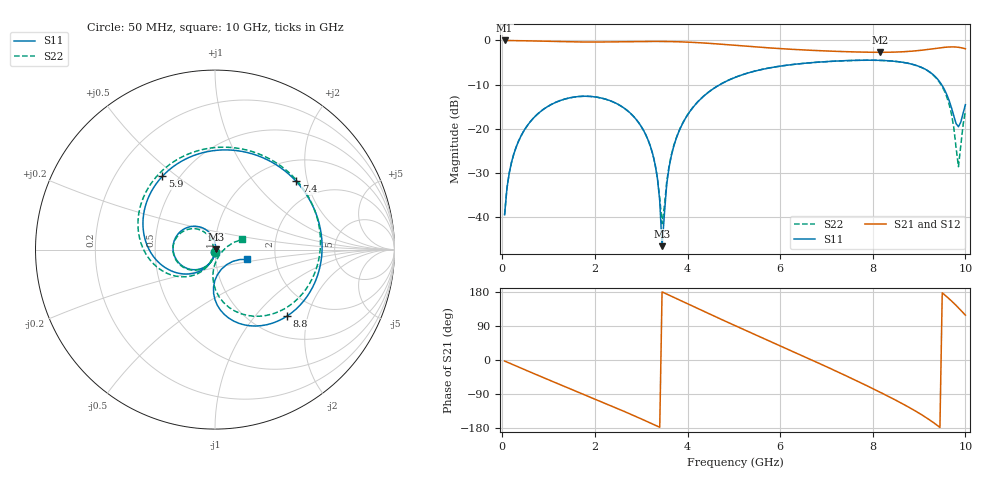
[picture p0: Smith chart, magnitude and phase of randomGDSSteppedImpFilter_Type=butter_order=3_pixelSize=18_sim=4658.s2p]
! freq	dB(S11)	phase(S11)	dB(S12)	phase(S12)
!  dB(S21)	phase(S21)	dB(S22)	phase(S22)
!S-par simulation data
#  GHz  S  DB  R 50
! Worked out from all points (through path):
!   200 points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, 50 MHz to 10 GHz, reference 50 ohm
!   highest |S21| = -0.01 dB at 50 MHz (marker M1); lowest = -2.7 dB at 8.15 GHz (marker M2)
!   group delay of S21, straight-line fit = 158 ps
!   lowest |S11| = -46.5 dB at 3.45 GHz (marker M3), VSWR 1.01, Z = 50.4 + j0.162 ohm
!   |S11| at or under -10 dB: start of sweep to 4.697 GHz; 9.487 GHz to end of sweep
!   |S22| runs from -41.4 to -4.5 dB; largest |S21 - S12| = 0
!   S11 on the Smith chart (normalised r, x): 50 MHz: 1.00, -0.02; 5.9 GHz: 0.41, +0.44; 7.4 GHz: 1.46, +1.71; 8.8 GHz: 1.42, -1.50; 10 GHz: 1.43, -0.16
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0.05  -39.38 -92.0  -0.01 -2.7  -0.01 -2.7  -39.38 -91.9
0.2  -27.50 -100.8  -0.02 -10.6  -0.02 -10.6  -27.50 -100.5
0.5  -19.86 -117.3  -0.08 -26.4  -0.08 -26.4  -19.86 -116.5
1.75  -12.61 177.3  -0.35 -90.3  -0.35 -90.3  -12.61 -179.3
2.95  -18.65 113.0  -0.25 -152.7  -0.25 -152.7  -18.66 121.9
3.25  -25.74 94.4  -0.23 -169.1  -0.23 -169.1  -25.73 110.6
3.4  -36.28 77.8  -0.23 -177.5  -0.23 -177.5  -35.64 122.5
3.45  -46.48 19.8  -0.23 179.7  -0.23 179.7  -41.40 169.0
3.6  -28.74 -97.9  -0.25 171.2  -0.25 171.2  -28.46 -108.6
3.85  -19.71 -115.3  -0.32 157.1  -0.32 157.1  -19.64 -114.8
4.45  -11.72 -151.2  -0.64 122.9  -0.64 122.9  -11.69 -145.2
5.05  -8.26 174.0  -1.12 89.4  -1.12 89.4  -8.24 -176.8
5.9  -5.97 125.7  -1.78 43.0  -1.78 43.0  -5.97 139.1
6.7  -5.00 80.2  -2.25 -0.9  -2.25 -0.9  -5.01 97.1
7.4  -4.57 40.0  -2.53 -40.4  -2.53 -40.4  -4.58 58.7
8.15  -4.50 -3.4  -2.68 -84.5  -2.68 -84.5  -4.51 15.0
8.35  -4.60 -15.2  -2.67 -96.8  -2.67 -96.8  -4.61 2.8
8.8  -5.25 -42.6  -2.46 -126.1  -2.46 -126.1  -5.25 -26.5
9.55  -11.14 -90.1  -1.56 172.1  -1.56 172.1  -11.51 -84.9
9.7  -15.23 -90.4  -1.46 155.8  -1.46 155.8  -16.65 -94.8
9.85  -19.49 -52.3  -1.55 137.7  -1.55 137.7  -28.54 -34.5
10  -14.51 -16.8  -1.90 118.4  -1.90 118.4  -15.94 20.7
